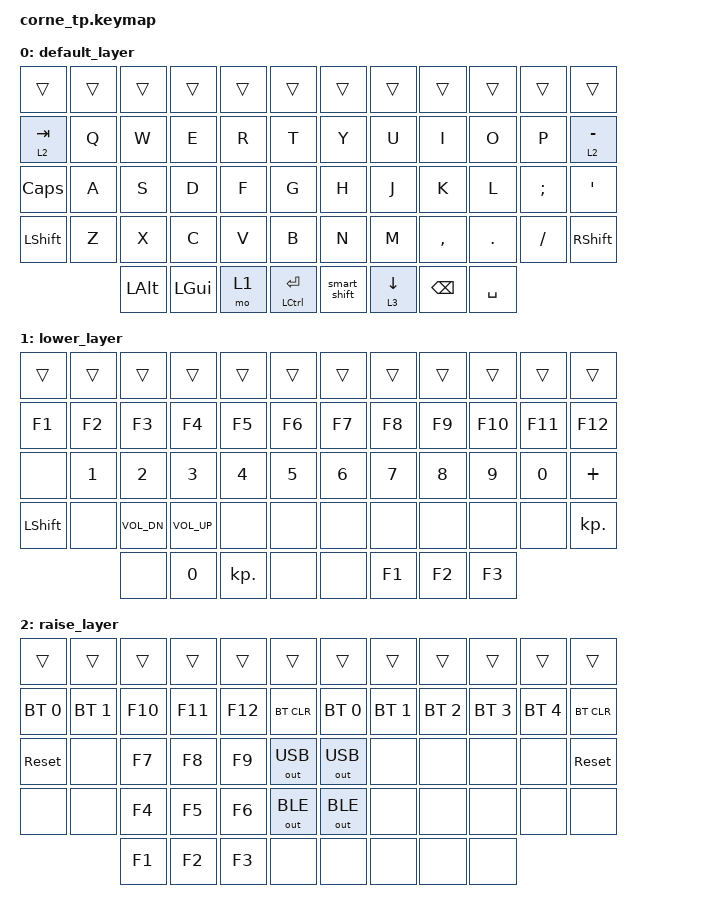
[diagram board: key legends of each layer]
/*
 * Copyright (c) 2020 The ZMK Contributors
 *
 * SPDX-License-Identifier: MIT
 */

#include <behaviors.dtsi>
#include <dt-bindings/zmk/keys.h>
#include <dt-bindings/zmk/bt.h>


// Warning:
// This is the keymap file under the `zmk-config/boards/shields/corne/`
// directory.
//
// It's the default keymap that is only used if you don't have a custom one
// in zmk-config/config/corne.keymap.
//
// Instead of making changes to this keymap, you should edit the config
// mentioned above.
//
// If that one doesn't exist, copy this file to
// `zmk-config/config/your_keyboard.keymap` and make all keymap changes there.

/ {
        keymap {
                compatible = "zmk,keymap";

                default_layer {

                        bindings = <
                        &trans       &trans    &trans       &trans        &trans        &trans   &trans       &trans    &trans     &trans     &trans     &trans
                        &lt 2 TAB     &kp Q  &kp W           &kp E         &kp R         &kp T  &kp Y          &kp U     &kp I      &kp O      &kp P     &lt 2 MINUS
                        &kp CAPSLOCK  &kp A  &kp S           &kp D         &kp F         &kp G  &kp H          &kp J     &kp K      &kp L      &kp SEMI  &kp SQT
                        &kp LSHFT     &kp Z  &kp X           &kp C         &kp V         &kp B  &kp N          &kp M     &kp COMMA  &kp DOT    &kp FSLH  &kp RSHFT
                        &kp LEFT_ALT  &kp LGUI                        &mo 1   &mt LCTRL ENTER             &smart_shift &lt 3 DOWN        &kp BACKSPACE   &kp SPACE
                        >;
                };
                lower_layer {

                        bindings = <
                        &trans       &trans    &trans       &trans        &trans        &trans   &trans       &trans    &trans     &trans     &trans     &trans
                        &kp F1        &kp F2         &kp F3        &kp F4         &kp F5      &kp F6      &kp F7  &kp F8   &kp F9   &kp F10   &kp F11   &kp F12
                        &none         &kp N1         &kp N2        &kp N3         &kp N4      &kp N5      &kp N6  &kp N7   &kp N8   &kp N9    &kp N0    &kp PLUS
                        &kp LSHFT     &none      &kp C_VOL_DN  &kp C_VOL_UP   &none       &none       &none   &none    &none    &none     &none     &kp KP_DOT
                                                &none   &kp N0  &kp KP_DOT  &none   &none              &kp F1   &kp F2   &kp F3   
                        >;
                };

                raise_layer {

                        bindings = <
                        &trans       &trans    &trans       &trans        &trans        &trans   &trans       &trans    &trans     &trans     &trans     &trans
                        &bt BT_SEL 0  &bt BT_SEL 1  &kp F10  &kp F11  &kp F12  &bt BT_CLR    &bt BT_SEL 0  &bt BT_SEL 1  &bt BT_SEL 2  &bt BT_SEL 3  &bt BT_SEL 4  &bt BT_CLR
                        &sys_reset    &none         &kp F7   &kp F8   &kp F9   &out OUT_USB  &out OUT_USB  &none         &none         &none         &none         &sys_reset
                        &none         &none         &kp F4   &kp F5   &kp F6   &out OUT_BLE  &out OUT_BLE  &none         &none         &none         &none         &none
                                                    &kp F1   &kp F2   &kp F3    &none    &none        &none         &none         &none       
                        >;
                };
        };
};
